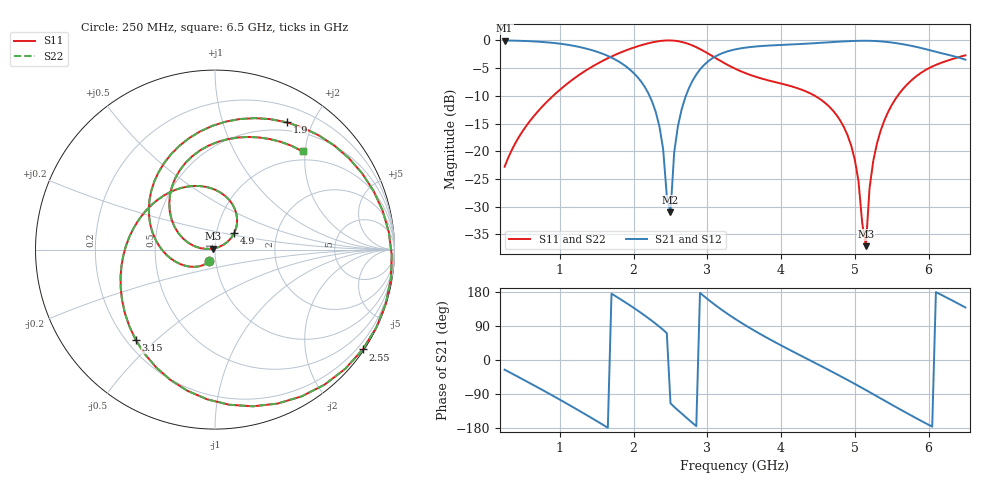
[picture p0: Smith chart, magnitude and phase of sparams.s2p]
! NobuRF pozar-open-stub-notch: ports 1 "p1", 2 "p2"; 7900 + 7900 steps
# GHz S RI R 50
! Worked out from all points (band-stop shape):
!   126 points, 250 MHz to 6.5 GHz, reference 50 ohm
!   highest |S21| = -0.03 dB at 250 MHz (marker M1); lowest = -31.0 dB at 2.5 GHz (marker M2)
!   |S21| within 3 dB of the highest: start of sweep to 1.686 GHz; 3.093 GHz to 6.387 GHz (3.295 GHz wide, 69.5 % of centre)
!   lowest |S11| = -37.1 dB at 5.15 GHz (marker M3), VSWR 1.03, Z = 48.7 + j0.511 ohm
!   |S11| at or under -10 dB: start of sweep to 908.5 MHz; 4.458 GHz to 5.582 GHz (1.124 GHz wide, 22.4 % of centre)
!   |S22| runs from -37.1 to 0.0 dB; largest |S21 - S12| = 3.7e-07
!   S11 on the Smith chart (normalised r, x): 250 MHz: 0.93, -0.12; 1.9 GHz: 0.39, +1.64; 2.55 GHz: 0.04, -3.26; 3.15 GHz: 0.24, -0.43; 4.9 GHz: 1.22, +0.23; 6.5 GHz: 0.82, +1.95
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0.25  -0.0316 -0.0653  0.8996 -0.43  0.8996 -0.43  -0.0316 -0.0653
0.8  -0.2671 -0.0321  0.1157 -0.9559  0.1157 -0.9559  -0.2671 -0.0321
1.3  -0.3385 0.379  -0.6422 -0.5736  -0.6422 -0.5736  -0.3385 0.379
1.6  -0.0826 0.6586  -0.7419 -0.0927  -0.7419 -0.0927  -0.0826 0.6586
1.9  0.4001 0.709  -0.5047 0.2852  -0.5047 0.2852  0.4001 0.709
2.1  0.7453 0.5099  -0.2409 0.3521  -0.2409 0.3521  0.7453 0.5099
2.35  0.9847 -0.0311  0.00644 0.1671  0.00644 0.1671  0.9847 -0.0311
2.5  0.8989 -0.434  -0.0115 -0.0256  -0.0115 -0.0256  0.8989 -0.434
2.55  0.823 -0.5565  -0.0542 -0.0809  -0.0542 -0.0809  0.823 -0.5565
2.8  0.2115 -0.8732  -0.4215 -0.102  -0.4215 -0.102  0.2115 -0.8732
3.15  -0.441 -0.5041  -0.557 0.4872  -0.557 0.4872  -0.441 -0.5041
3.4  -0.5259 -0.1479  -0.2244 0.8039  -0.2244 0.8039  -0.5259 -0.1479
3.85  -0.3517 0.2505  0.5249 0.7295  0.5249 0.7295  -0.3517 0.2505
4.45  0.0323 0.3169  0.9361 -0.1094  0.9361 -0.1094  0.0323 0.3169
4.9  0.1068 0.091  0.5977 -0.7795  0.5977 -0.7795  0.1068 0.091
5.05  0.0468 0.0266  0.3637 -0.9211  0.3637 -0.9211  0.0468 0.0266
5.15  -0.0129 0.00524  0.1843 -0.9744  0.1843 -0.9744  -0.0129 0.00524
5.2  -0.0465 0.00329  0.0905 -0.9866  0.0905 -0.9866  -0.0465 0.00329
5.25  -0.0811 0.0079  -0.00449 -0.9884  -0.00449 -0.9884  -0.0811 0.0079
5.5  -0.2264 0.1286  -0.4462 -0.8459  -0.4462 -0.8459  -0.2264 0.1286
5.95  -0.1265 0.5204  -0.8112 -0.2057  -0.8112 -0.2057  -0.1265 0.5204
6.5  0.488 0.5474  -0.5024 0.4429  -0.5024 0.4429  0.488 0.5474
